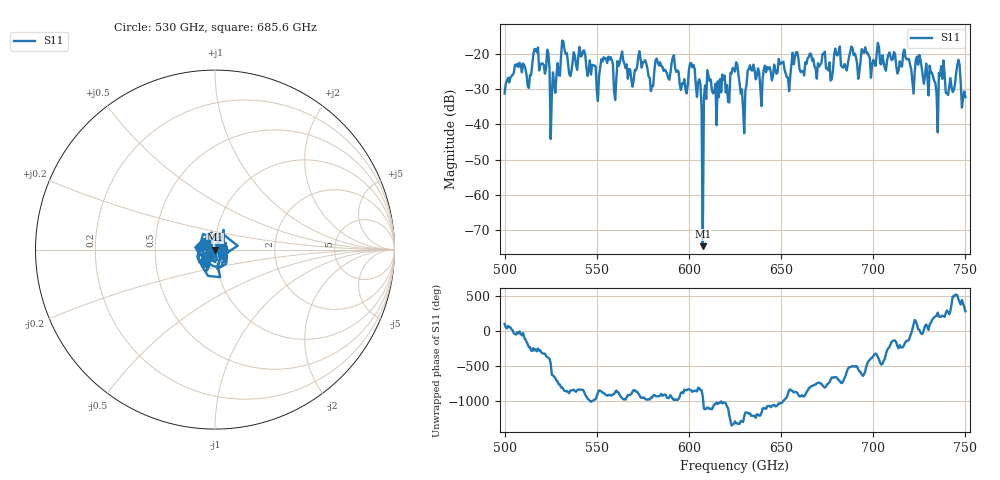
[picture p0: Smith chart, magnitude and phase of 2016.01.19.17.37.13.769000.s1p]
!Created with skrf (http://scikit-rf.org).
# GHz S RI R 50.0
!freq ReS11 ImS11
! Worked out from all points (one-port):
!   401 points, 500 GHz to 750 GHz, reference 50 ohm
!   lowest |S11| = -74.6 dB at 607.5 GHz (marker M1), VSWR 1.00, Z = 50 + j0.00838 ohm
!   |S11| at or under -10 dB: start of sweep to end of sweep
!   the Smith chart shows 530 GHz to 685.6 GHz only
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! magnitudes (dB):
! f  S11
! 500 GHz  -31.2
! 506.9 GHz  -22.8
! 513.1 GHz  -29.6
! 516.9 GHz  -18.6
! 523.1 GHz  -18.7
! 526.2 GHz  -25.2
! 531.2 GHz  -16.1
! 550.6 GHz  -33.3
! 562.5 GHz  -22.4
! 579.4 GHz  -30.5
! 583.1 GHz  -22.3
! 593.8 GHz  -24.6
! 598.1 GHz  -29.9
! 601.9 GHz  -23.8
! 607.5 GHz  -74.6
! 610 GHz  -24.5
! 621.2 GHz  -33.6
! 625 GHz  -25.0
! 629.4 GHz  -35.4
! 633.8 GHz  -24.5
! 656.2 GHz  -19.6
! 687.5 GHz  -19.4
! 718.8 GHz  -21.4
! 733.8 GHz  -28.3
! 736.9 GHz  -23.4
! 740.6 GHz  -31.6
! 746.2 GHz  -21.6
! 750 GHz  -32.2
